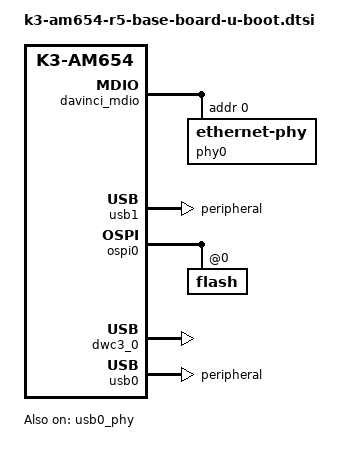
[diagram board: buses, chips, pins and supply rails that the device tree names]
// SPDX-License-Identifier: GPL-2.0
/*
 * Copyright (C) 2018-2021 Texas Instruments Incorporated - http://www.ti.com/
 */

#include <dt-bindings/pinctrl/k3.h>
#include <dt-bindings/net/ti-dp83867.h>

/ {
	chosen {
		stdout-path = "serial2:115200n8";
	};

	aliases {
		serial2 = &main_uart0;
		ethernet0 = &cpsw_port1;
		usb0 = &usb0;
		usb1 = &usb1;
		spi0 = &ospi0;
		spi1 = &ospi1;
	};
};

&cbass_main{
	bootph-pre-ram;
	main_navss: bus@30800000 {
		bootph-pre-ram;
	};
};

&cbass_mcu {
	bootph-pre-ram;

	mcu_navss: bus@28380000 {
		bootph-pre-ram;

		ringacc@2b800000 {
			reg =	<0x0 0x2b800000 0x0 0x400000>,
				<0x0 0x2b000000 0x0 0x400000>,
				<0x0 0x28590000 0x0 0x100>,
				<0x0 0x2a500000 0x0 0x40000>,
				<0x0 0x28440000 0x0 0x40000>;
			reg-names = "rt", "fifos", "proxy_gcfg", "proxy_target", "cfg";
			bootph-pre-ram;
			ti,dma-ring-reset-quirk;
		};

		dma-controller@285c0000 {
			reg =	<0x0 0x285c0000 0x0 0x100>,
				<0x0 0x284c0000 0x0 0x4000>,
				<0x0 0x2a800000 0x0 0x40000>,
				<0x0 0x284a0000 0x0 0x4000>,
				<0x0 0x2aa00000 0x0 0x40000>,
				<0x0 0x28400000 0x0 0x2000>;
			reg-names = "gcfg", "rchan", "rchanrt", "tchan",
					    "tchanrt", "rflow";
			bootph-pre-ram;
		};
	};
};

&cbass_wakeup {
	bootph-pre-ram;

	chipid@43000014 {
		bootph-pre-ram;
	};
};

&secure_proxy_main {
	bootph-pre-ram;
};

&dmsc {
	bootph-pre-ram;
	k3_sysreset: sysreset-controller {
		compatible = "ti,sci-sysreset";
		bootph-pre-ram;
	};
};

&k3_pds {
	bootph-pre-ram;
};

&k3_clks {
	bootph-pre-ram;
};

&k3_reset {
	bootph-pre-ram;
};

&wkup_pmx0 {
	bootph-pre-ram;

	wkup_i2c0_pins_default {
		bootph-pre-ram;
	};
};

&main_pmx0 {
	bootph-pre-ram;
	usb0_pins_default: usb0_pins_default {
		pinctrl-single,pins = <
			AM65X_IOPAD(0x02bc, PIN_OUTPUT, 0) /* (AD9) USB0_DRVVBUS */
		>;
		bootph-pre-ram;
	};
};

&main_uart0_pins_default {
	bootph-pre-ram;
};

&main_pmx1 {
	bootph-pre-ram;
};

&wkup_pmx0 {
	mcu-fss0-ospi0-pins-default {
		bootph-pre-ram;
	};
};

&main_uart0 {
	bootph-pre-ram;
};

&main_mmc0_pins_default {
	bootph-pre-ram;
};

&main_mmc1_pins_default {
	bootph-pre-ram;
};

&sdhci0 {
	bootph-pre-ram;
};

&sdhci1 {
	bootph-pre-ram;
};

&davinci_mdio {
	phy0: ethernet-phy@0 {
		reg = <0>;
		/* TODO: phy reset: TCA9555RTWR(i2c:0x21)[p04].GPIO_MCU_RGMII_RSTN */
		ti,rx-internal-delay = <DP83867_RGMIIDCTL_2_00_NS>;
		ti,fifo-depth = <DP83867_PHYCR_FIFO_DEPTH_4_B_NIB>;
	};
};

&mcu_cpsw {
	reg = <0x0 0x46000000 0x0 0x200000>,
	      <0x0 0x40f00200 0x0 0x2>;
	reg-names = "cpsw_nuss", "mac_efuse";
	/delete-property/ ranges;

	cpsw-phy-sel@40f04040 {
		compatible = "ti,am654-cpsw-phy-sel";
		reg= <0x0 0x40f04040 0x0 0x4>;
		reg-names = "gmii-sel";
	};
};

&wkup_i2c0 {
	bootph-pre-ram;
};

&usb1 {
	dr_mode = "peripheral";
};

&fss {
	bootph-pre-ram;
};

&ospi0 {
	bootph-pre-ram;

	 flash@0{
		bootph-pre-ram;
	};
};

&dwc3_0 {
	status = "okay";
	bootph-pre-ram;
};

&usb0_phy {
	status = "okay";
	bootph-pre-ram;
};

&usb0 {
	pinctrl-names = "default";
	pinctrl-0 = <&usb0_pins_default>;
	dr_mode = "peripheral";
	bootph-pre-ram;
};

&scm_conf {
	bootph-pre-ram;
};
